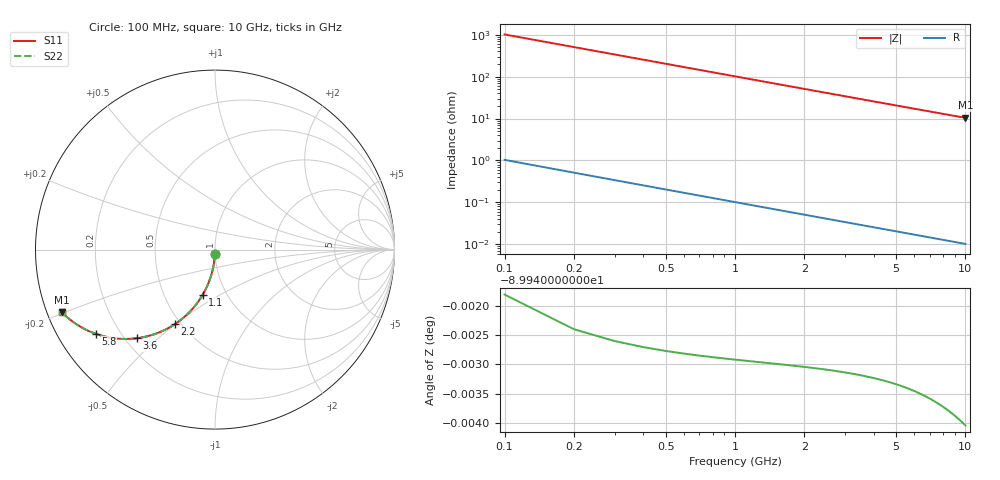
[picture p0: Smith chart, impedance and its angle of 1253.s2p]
# Hz S RI R 50.00
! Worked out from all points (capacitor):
!   100 points, 100 MHz to 10 GHz, reference 50 ohm
!   read as one part in shunt: C = 1.56 pF near 100 MHz
!   lowest |Z| = 10.4 ohm at 10 GHz (marker M1)
!   S11 on the Smith chart (normalised r, x): 100 MHz: 1.00, -0.05; 1.1 GHz: 0.77, -0.42; 2.2 GHz: 0.46, -0.50; 3.6 GHz: 0.25, -0.43; 5.8 GHz: 0.11, -0.31; 10 GHz: 0.04, -0.20
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1e8  -0.000619 -0.0245  0.9994 -0.0246  0.9994 -0.0246  -0.000619 -0.0245
2e8  -0.00244 -0.0489  0.9975 -0.049  0.9975 -0.049  -0.00244 -0.0489
3e8  -0.00545 -0.0731  0.9945 -0.0733  0.9945 -0.0733  -0.00545 -0.0731
4e8  -0.00962 -0.097  0.9904 -0.0973  0.9904 -0.0973  -0.00962 -0.097
5e8  -0.0149 -0.1206  0.9851 -0.121  0.9851 -0.121  -0.0149 -0.1206
6e8  -0.0213 -0.1437  0.9787 -0.1442  0.9787 -0.1442  -0.0213 -0.1437
7e8  -0.0288 -0.1664  0.9712 -0.167  0.9712 -0.167  -0.0288 -0.1664
9e8  -0.0466 -0.2099  0.9534 -0.2106  0.9534 -0.2106  -0.0466 -0.2099
1.1e9  -0.0679 -0.2507  0.9321 -0.2516  0.9321 -0.2516  -0.0679 -0.2507
1.4e9  -0.1054 -0.306  0.8946 -0.3071  0.8946 -0.3071  -0.1054 -0.306
1.8e9  -0.1627 -0.3678  0.8373 -0.3693  0.8373 -0.3693  -0.1627 -0.3678
2.2e9  -0.2245 -0.4159  0.7755 -0.4177  0.7755 -0.4177  -0.2245 -0.4159
2.8e9  -0.3185 -0.4643  0.6815 -0.4666  0.6815 -0.4666  -0.3185 -0.4643
3.4e9  -0.4073 -0.4894  0.5927 -0.4922  0.5927 -0.4922  -0.4073 -0.4894
3.6e9  -0.4349 -0.4938  0.5651 -0.4967  0.5651 -0.4967  -0.4349 -0.4938
4.3e9  -0.5226 -0.4972  0.4774 -0.5008  0.4774 -0.5008  -0.5226 -0.4972
5.1e9  -0.6055 -0.4861  0.3944 -0.4904  0.3944 -0.4904  -0.6055 -0.4861
5.8e9  -0.6645 -0.4692  0.3354 -0.4741  0.3354 -0.4741  -0.6645 -0.4692
6.7e9  -0.725 -0.4432  0.2749 -0.4488  0.2749 -0.4488  -0.725 -0.4432
7.5e9  -0.7673 -0.4189  0.2326 -0.4252  0.2326 -0.4252  -0.7673 -0.4189
8.4e9  -0.8051 -0.3921  0.1949 -0.3992  0.1949 -0.3992  -0.8051 -0.3921
1e10  -0.8538 -0.3485  0.1461 -0.357  0.1461 -0.357  -0.8538 -0.3485
